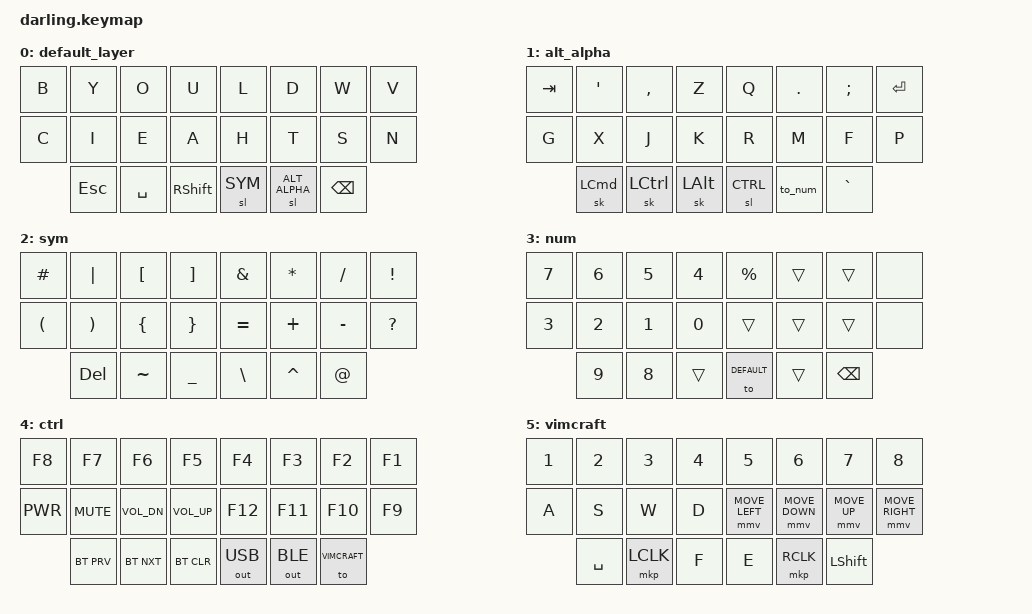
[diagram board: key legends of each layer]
#include <behaviors.dtsi>
#include <dt-bindings/zmk/bt.h>
#include <dt-bindings/zmk/keys.h>
#include <dt-bindings/zmk/outputs.h>
#include <dt-bindings/zmk/pointing.h>

#define ZMK_POINTING_DEFAULT_MOVE_VAL 1500
#define ZMK_POINTING_DEFAULT_SCRL_VAL 20

#define DEFAULT   0
#define ALT_ALPHA 1
#define SYM       2
#define NUM       3
#define CTRL      4
#define VIMCRAFT  5

/ {
  behaviors {
    tog_on: toggle_layer_on_only {
      compatible = "zmk,behavior-toggle-layer";
      #binding-cells = <1>;
      display-name = "Toggle Layer On";
      toggle-mode = "on";
    };
    tog_off: toggle_layer_off_only {
      compatible = "zmk,behavior-toggle-layer";
      #binding-cells = <1>;
      display-name = "Toggle Layer Off";
      toggle-mode = "off";
    };
  };
  macros {
    to_num: to_num {
      compatible = "zmk,behavior-macro";
      #binding-cells = <0>;
      bindings
        = <&macro_tap &to NUM>
        , <&macro_tap &tog_on SYM>
        ;
    };
  };
  combos {
    compatible = "zmk,combos";
    combo_nine_vimcraft {
      timeout-ms = <50>;
      key-positions = <6 7>; // positions of the `7` and `8` keys in vimcraft layer
      bindings = <&kp N9>;
      layers = <VIMCRAFT>; // only active on vimcraft layer
    };
    combo_to_default_vimcraft {
      timeout-ms = <50>;
      key-positions = <0 1>; // positions of the `1` and `2` keys in vimcraft layer
      bindings = <&to DEFAULT>;
      layers = <VIMCRAFT>; // only active on vimcraft layer
    };
    combo_scroll_up_vimcraft {
      timeout-ms = <50>;
      key-positions = <9 10>; // positions of the `S` and `W` keys in vimcraft layer
      bindings = <&msc SCRL_UP>;
      layers = <VIMCRAFT>; // only active on vimcraft layer
    };
    combo_scroll_down_vimcraft {
      timeout-ms = <50>;
      key-positions = <8 11>; // positions of the `A` and `D` keys in vimcraft layer
      bindings = <&msc SCRL_DOWN>;
      layers = <VIMCRAFT>; // only active on vimcraft layer
    };
  };
  keymap {
    compatible = "zmk,keymap";
    default_layer {
      bindings = <
      // ┌---------┬---------┬---------┬---------┐   ┌---------┬---------┬---------┬---------┐
      // │  B      │  Y      │  O      │  U      │   │  L      │  D      │  W      │  V      │
           &kp B     &kp Y     &kp O     &kp U         &kp L     &kp D     &kp W     &kp V
      // │  C      │  I      │  E      │  A      │   │  H      │  T      │  S      │  N      │
           &kp C     &kp I     &kp E     &kp A         &kp H     &kp T     &kp S     &kp N
      // └---------┼---------┼---------┼---------┤   ├---------┼---------┼---------┼---------┘
      //           │  ESC    │  SPACE  │  RSHFT  │   │  sl     │  sl     │  BSPC   │
                    &kp ESC   &kp SPACE &kp RSHFT     &sl SYM &sl ALT_ALPHA &kp BSPC
      //           └---------┴---------┴---------┘   └---------┴---------┴---------┘
      >;
    };
    alt_alpha {
      bindings = <
      // ┌---------┬---------┬---------┬---------┐   ┌---------┬---------┬---------┬---------┐
      // │  TAB    │  '      │  ,      │  Z      │   │  Q      │  .      │  ;      │  RET    │
           &kp TAB   &kp SQT  &kp COMMA  &kp Z         &kp Q     &kp DOT   &kp SEMI  &kp RET
      // │  G      │  X      │  J      │  K      │   │  R      │  M      │  F      │  P      │
           &kp G     &kp X     &kp J     &kp K         &kp R     &kp M     &kp F     &kp P
      // └---------┼---------┼---------┼---------┤   ├---------┼---------┼---------┼---------┘
      //           │  LCMD   │  LCTRL  │  LALT   │   │  sl     │  to_num │  `      │
                    &sk LCMD  &sk LCTRL &sk LALT       &sl CTRL  &to_num   &kp GRAVE
      //           └---------┴---------┴---------┘   └---------┴---------┴---------┘
      >;
    };
    sym {
      bindings = <
      // ┌---------┬---------┬---------┬---------┐   ┌---------┬---------┬---------┬---------┐
      // │  #      │  |      │  [      │  ]      │   │  &      │  *      │  /      │  !      │
          &kp POUND  &kp PIPE  &kp LBKT  &kp RBKT      &kp AMPS &kp ASTRK  &kp FSLH  &kp EXCL
      // │  (      │  )      │  {      │  }      │   │  =      │  +      │  -      │  ?      │
           &kp LPAR  &kp RPAR  &kp LBRC  &kp RBRC     &kp EQUAL  &kp PLUS &kp MINUS &kp QMARK
      // └---------┼---------┼---------┼---------┤   ├---------┼---------┼---------┼---------┘
      //           │  DEL    │  ~      │  _      │   │  \      │  ^      │  @      │
                     &kp DEL  &kp TILDE &kp UNDER     &kp BSLH  &kp CARET  &kp AT
      //           └---------┴---------┴---------┘   └---------┴---------┴---------┘
      >;
    };
    num {
      bindings = <
      // ┌---------┬---------┬---------┬---------┐   ┌---------┬---------┬---------┬---------┐
      // │  7      │  6      │  5      │  4      │   │  %      │  trans  │  trans  │  to_sym │
           &kp N7    &kp N6    &kp N5    &kp N4       &kp PRCNT  &trans    &trans    &none
      // │  3      │  2      │  1      │  0      │   │  trans  │  trans  │  trans  │  to_def │
           &kp N3    &kp N2    &kp N1    &kp N0        &trans    &trans    &trans    &none
      // └---------┼---------┼---------┼---------┤   ├---------┼---------┼---------┼---------┘
      //           │  9      │  8      │  trans  │   │  to     │  trans  │  BSPC   │
                     &kp N9    &kp N8    &trans      &to DEFAULT &trans    &kp BSPC
      //           └---------┴---------┴---------┘   └---------┴---------┴---------┘
      >;
    };
    ctrl {
      bindings = <
      // ┌---------┬---------┬---------┬---------┐   ┌---------┬---------┬---------┬---------┐
      // │  F8     │  F7     │  F6     │  F5     │   │  F4     │  F3     │  F2     │  F1     │
           &kp F8    &kp F7    &kp F6    &kp F5        &kp F4    &kp F3    &kp F2    &kp F1
      // │  C_PWR  │  C_MUTE │  VOL_DN │  VOL_UP │   │  F12    │  F11    │  F10    │  F9     │
        &kp C_PWR &kp C_MUTE &kp C_VOL_DN &kp C_VOL_UP &kp F12   &kp F11   &kp F10   &kp F9
      // └---------┼---------┼---------┼---------┤   ├---------┼---------┼---------┼---------┘
      //           │  BT_PRV │  BT_NXT │  BT_CLR │   │ OUT_USB │ OUT_BLE │  to     │
                   &bt BT_PRV &bt BT_NXT &bt BT_CLR &out OUT_USB &out OUT_BLE &to VIMCRAFT
      //           └---------┴---------┴---------┘   └---------┴---------┴---------┘
      >;
    };
    vimcraft {
      bindings = <
      // ┌---------┬---------┬---------┬---------┐   ┌---------┬---------┬---------┬---------┐
      // │  1      │  2      │  3      │  4      │   │  5      │  6      │  7      │  8      │
           &kp N1    &kp N2    &kp N3    &kp N4        &kp N5    &kp N6    &kp N7    &kp N8
      // │  A      │  S      │  W      │  D      │   │  LEFT   │  DOWN   │  UP     │  RIGHT  │
           &kp A     &kp S     &kp W     &kp D      &mmv MOVE_LEFT &mmv MOVE_DOWN &mmv MOVE_UP &mmv MOVE_RIGHT
      // └---------┼---------┼---------┼---------┤   ├---------┼---------┼---------┼---------┘
      //           │  SPACE  │  LCLK   │  F      │   │  E      │  RCLK   │  LSHFT  │
                    &kp SPACE &mkp LCLK   &kp F         &kp E   &mkp RCLK &kp LSHFT
      //           └---------┴---------┴---------┘   └---------┴---------┴---------┘
      >;
    };
  };
};
